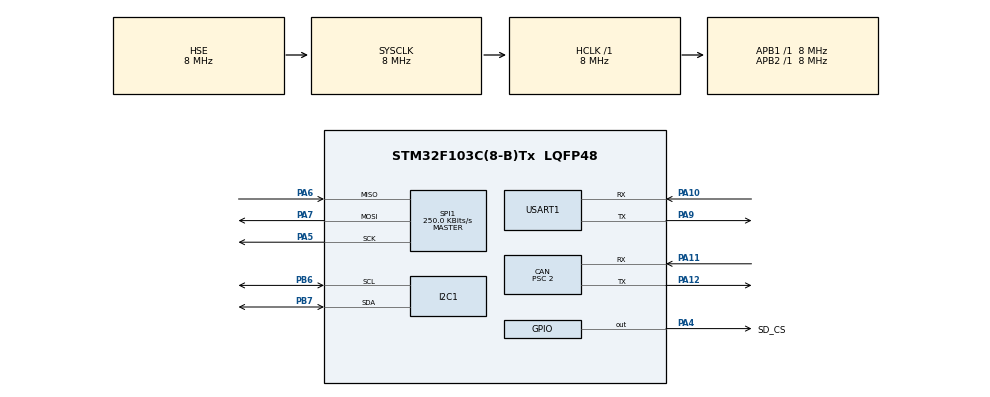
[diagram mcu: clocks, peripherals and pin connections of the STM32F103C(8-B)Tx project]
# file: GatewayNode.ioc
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CAN.BS1=CAN_BS1_13TQ
CAN.BS2=CAN_BS2_2TQ
CAN.CalculateBaudRate=250000
CAN.CalculateTimeBit=4000
CAN.CalculateTimeQuantum=250.0
CAN.Prescaler=2
FREERTOS.BinarySemaphores01=DataReadySem,Dynamic,NULL,Depleted
FREERTOS.Tasks01=defaultTask,-3,128,StartDefaultTask,Default,NULL,Dynamic,NULL,NULL;DisplayTask,0,256,StartDisplayTask,Default,NULL,Dynamic,NULL,NULL;LoggingTask,-1,1024,StartLoggingTask,Default,NULL,Dynamic,NULL,NULL
FREERTOS.configTOTAL_HEAP_SIZE=10240
I2C1.I2C_Mode=I2C_Fast
Mcu.Family=STM32F1
Mcu.Name=STM32F103C(8-B)Tx
Mcu.Package=LQFP48
NVIC.PriorityGroup=NVIC_PRIORITYGROUP_4
NVIC.TIM1_UP_IRQn=true\:6\:0\:true\:false\:true\:false\:false\:true\:true
NVIC.TimeBase=TIM1_UP_IRQn
NVIC.TimeBaseIP=TIM1
NVIC.USB_LP_CAN1_RX0_IRQn=true\:5\:0\:true\:false\:true\:true\:true\:true\:true
PA10.Mode=Asynchronous
PA10.Signal=USART1_RX
PA11.Mode=CAN_Activate
PA11.Signal=CAN_RX
PA12.Mode=CAN_Activate
PA12.Signal=CAN_TX
PA13.Mode=Serial_Wire
PA13.Signal=SYS_JTMS-SWDIO
PA14.Mode=Serial_Wire
PA14.Signal=SYS_JTCK-SWCLK
PA4.GPIO_Label=SD_CS
PA4.GPIO_PuPd=GPIO_NOPULL
PA4.GPIO_Speed=GPIO_SPEED_FREQ_HIGH
PA4.PinState=GPIO_PIN_SET
PA4.Signal=GPIO_Output
PA5.Mode=Full_Duplex_Master
PA5.Signal=SPI1_SCK
PA6.GPIO_PuPd=GPIO_PULLUP
PA6.Mode=Full_Duplex_Master
PA6.Signal=SPI1_MISO
PA7.Mode=Full_Duplex_Master
PA7.Signal=SPI1_MOSI
PA9.Mode=Asynchronous
PA9.Signal=USART1_TX
PB6.Mode=I2C
PB6.Signal=I2C1_SCL
PB7.Mode=I2C
PB7.Signal=I2C1_SDA
PD0-OSC_IN.Mode=HSE-External-Oscillator
PD0-OSC_IN.Signal=RCC_OSC_IN
PD1-OSC_OUT.Mode=HSE-External-Oscillator
PD1-OSC_OUT.Signal=RCC_OSC_OUT
ProjectManager.HeapSize=0x200
ProjectManager.StackSize=0x400
ProjectManager.TargetToolchain=MDK-ARM V5.32
RCC.AHBFreq_Value=8000000
RCC.APB1Freq_Value=8000000
RCC.APB1TimFreq_Value=8000000
RCC.APB2Freq_Value=8000000
RCC.APB2TimFreq_Value=8000000
RCC.EnbaleCSS=true
RCC.HCLKFreq_Value=8000000
RCC.PLLSourceVirtual=RCC_PLLSOURCE_HSE
RCC.SYSCLKFreq_VALUE=8000000
RCC.SYSCLKSource=RCC_SYSCLKSOURCE_HSE
RCC.USBFreq_Value=16000000
SPI1.BaudRatePrescaler=SPI_BAUDRATEPRESCALER_32
SPI1.CalculateBaudRate=250.0 KBits/s
SPI1.Direction=SPI_DIRECTION_2LINES
SPI1.Mode=SPI_MODE_MASTER
SPI1.VirtualType=VM_MASTER
USART1.VirtualMode=VM_ASYNC
VP_FATFS_VS_Generic.Mode=User_defined
VP_FREERTOS_VS_CMSIS_V1.Mode=CMSIS_V1
VP_SYS_VS_tim1.Mode=TIM1
board=custom

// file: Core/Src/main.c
/* USER CODE BEGIN Header */
/**
  ******************************************************************************
  * @file           : main.c
  * @brief          : Main program body
  ******************************************************************************
  * @attention
  *
  * Copyright (c) 2026 STMicroelectronics.
  * All rights reserved.
  *
  * This software is licensed under terms that can be found in the LICENSE file
  * in the root directory of this software component.
  * If no LICENSE file comes with this software, it is provided AS-IS.
  *
  ******************************************************************************
  */
/* USER CODE END Header */
#include "main.h"
#include "cmsis_os.h"
#include "fatfs.h"

/* USER CODE BEGIN Includes */
#include <stdio.h>
#include <string.h>
#include <stdlib.h>
#include "ssd1306.h"
#include "ssd1306_fonts.h"
#include "fatfs_sd.h"
/* USER CODE END Includes */

CAN_HandleTypeDef hcan;

I2C_HandleTypeDef hi2c1;

SPI_HandleTypeDef hspi1;

UART_HandleTypeDef huart1;

osThreadId defaultTaskHandle;
osThreadId DisplayTaskHandle;
osThreadId LoggingTaskHandle;
osSemaphoreId DataReadySemHandle;
/* USER CODE BEGIN PV */
FATFS fs;
FIL fil;
FRESULT fres;
char uart_msg[64];
char log_buf[32];
volatile uint16_t Timer1, Timer2;
/* USER CODE END PV */

void SystemClock_Config(void);
static void MX_GPIO_Init(void);
static void MX_CAN_Init(void);
static void MX_USART1_UART_Init(void);
static void MX_I2C1_Init(void);
static void MX_SPI1_Init(void);
void StartDefaultTask(void const * argument);
void StartDisplayTask(void const * argument);
void StartLoggingTask(void const * argument);

/* USER CODE BEGIN 0 */
CAN_RxHeaderTypeDef RxHeader;
uint8_t RxData[8];
float pm25_recv, temp_recv, hum_recv;
uint8_t data_updated = 0;

/* USER CODE END 0 */

int main(void)
{

  /* MCU Configuration--------------------------------------------------------*/

  /* Reset of all peripherals, Initializes the Flash interface and the Systick. */
  HAL_Init();

  /* Configure the system clock */
  SystemClock_Config();

  /* Initialize all configured peripherals */
  MX_GPIO_Init();
  MX_CAN_Init();
  MX_USART1_UART_Init();
  MX_I2C1_Init();
  MX_SPI1_Init();
  MX_FATFS_Init();
  /* USER CODE BEGIN 2 */
	HAL_GPIO_WritePin(SD_CS_GPIO_Port, SD_CS_Pin, GPIO_PIN_SET);
	ssd1306_Init();

	ssd1306_Fill(Black);
	ssd1306_SetCursor(25, 10);
	ssd1306_WriteString("DEVICE READY", Font_7x10, White);
	ssd1306_SetCursor(35, 30);
	ssd1306_WriteString("GATEWAY", Font_11x18, White);
	ssd1306_UpdateScreen();

	HAL_Delay(1500);
	CAN_FilterTypeDef sFilterConfig;
	sFilterConfig.FilterBank = 0;
	sFilterConfig.FilterMode = CAN_FILTERMODE_IDLIST;
	sFilterConfig.FilterScale = CAN_FILTERSCALE_32BIT;
	sFilterConfig.FilterIdHigh = 0x123 << 5;
	sFilterConfig.FilterIdLow = 0x0000;
	sFilterConfig.FilterMaskIdHigh = 0x123 << 5;
	sFilterConfig.FilterMaskIdLow = 0x0000;
	sFilterConfig.FilterFIFOAssignment = CAN_RX_FIFO0;
	sFilterConfig.FilterActivation = ENABLE;
	sFilterConfig.SlaveStartFilterBank = 14;

	if(HAL_CAN_ConfigFilter(&hcan, &sFilterConfig) != HAL_OK)
	{
			Error_Handler();
	}

	HAL_CAN_Start(&hcan);

	HAL_CAN_ActivateNotification(&hcan, CAN_IT_RX_FIFO0_MSG_PENDING);

  /* USER CODE END 2 */

  /* Create the semaphores(s) */
  /* definition and creation of DataReadySem */
  osSemaphoreDef(DataReadySem);
  DataReadySemHandle = osSemaphoreCreate(osSemaphore(DataReadySem), 1);

  /* Create the thread(s) */
  /* definition and creation of defaultTask */
  osThreadDef(defaultTask, StartDefaultTask, osPriorityIdle, 0, 128);
  defaultTaskHandle = osThreadCreate(osThread(defaultTask), NULL);

  /* definition and creation of DisplayTask */
  osThreadDef(DisplayTask, StartDisplayTask, osPriorityNormal, 0, 256);
  DisplayTaskHandle = osThreadCreate(osThread(DisplayTask), NULL);

  /* definition and creation of LoggingTask */
  osThreadDef(LoggingTask, StartLoggingTask, osPriorityBelowNormal, 0, 1024);
  LoggingTaskHandle = osThreadCreate(osThread(LoggingTask), NULL);

  /* Start scheduler */
  osKernelStart();

  /* We should never get here as control is now taken by the scheduler */

  /* Infinite loop */
  while (1)
  {

  }
}

void SystemClock_Config(void)
{
  RCC_OscInitTypeDef RCC_OscInitStruct = {0};
  RCC_ClkInitTypeDef RCC_ClkInitStruct = {0};

  /** Initializes the RCC Oscillators according to the specified parameters
  * in the RCC_OscInitTypeDef structure.
  */
  RCC_OscInitStruct.OscillatorType = RCC_OSCILLATORTYPE_HSE;
  RCC_OscInitStruct.HSEState = RCC_HSE_ON;
  RCC_OscInitStruct.PLL.PLLState = RCC_PLL_NONE;
  if (HAL_RCC_OscConfig(&RCC_OscInitStruct) != HAL_OK)
  {
    Error_Handler();
  }

  /** Initializes the CPU, AHB and APB buses clocks
  */
  RCC_ClkInitStruct.ClockType = RCC_CLOCKTYPE_HCLK|RCC_CLOCKTYPE_SYSCLK
                              |RCC_CLOCKTYPE_PCLK1|RCC_CLOCKTYPE_PCLK2;
  RCC_ClkInitStruct.SYSCLKSource = RCC_SYSCLKSOURCE_HSE;
  RCC_ClkInitStruct.AHBCLKDivider = RCC_SYSCLK_DIV1;
  RCC_ClkInitStruct.APB1CLKDivider = RCC_HCLK_DIV1;
  RCC_ClkInitStruct.APB2CLKDivider = RCC_HCLK_DIV1;

  if (HAL_RCC_ClockConfig(&RCC_ClkInitStruct, FLASH_LATENCY_0) != HAL_OK)
  {
    Error_Handler();
  }

  /** Enables the Clock Security System
  */
  HAL_RCC_EnableCSS();
}

static void MX_CAN_Init(void)
{

  hcan.Instance = CAN1;
  hcan.Init.Prescaler = 2;
  hcan.Init.Mode = CAN_MODE_NORMAL;
  hcan.Init.SyncJumpWidth = CAN_SJW_1TQ;
  hcan.Init.TimeSeg1 = CAN_BS1_13TQ;
  hcan.Init.TimeSeg2 = CAN_BS2_2TQ;
  hcan.Init.TimeTriggeredMode = DISABLE;
  hcan.Init.AutoBusOff = DISABLE;
  hcan.Init.AutoWakeUp = DISABLE;
  hcan.Init.AutoRetransmission = DISABLE;
  hcan.Init.ReceiveFifoLocked = DISABLE;
  hcan.Init.TransmitFifoPriority = DISABLE;
  if (HAL_CAN_Init(&hcan) != HAL_OK)
  {
    Error_Handler();
  }

}

static void MX_I2C1_Init(void)
{

  hi2c1.Instance = I2C1;
  hi2c1.Init.ClockSpeed = 400000;
  hi2c1.Init.DutyCycle = I2C_DUTYCYCLE_2;
  hi2c1.Init.OwnAddress1 = 0;
  hi2c1.Init.AddressingMode = I2C_ADDRESSINGMODE_7BIT;
  hi2c1.Init.DualAddressMode = I2C_DUALADDRESS_DISABLE;
  hi2c1.Init.OwnAddress2 = 0;
  hi2c1.Init.GeneralCallMode = I2C_GENERALCALL_DISABLE;
  hi2c1.Init.NoStretchMode = I2C_NOSTRETCH_DISABLE;
  if (HAL_I2C_Init(&hi2c1) != HAL_OK)
  {
    Error_Handler();
  }

}

static void MX_SPI1_Init(void)
{

  /* SPI1 parameter configuration*/
  hspi1.Instance = SPI1;
  hspi1.Init.Mode = SPI_MODE_MASTER;
  hspi1.Init.Direction = SPI_DIRECTION_2LINES;
  hspi1.Init.DataSize = SPI_DATASIZE_8BIT;
  hspi1.Init.CLKPolarity = SPI_POLARITY_LOW;
  hspi1.Init.CLKPhase = SPI_PHASE_1EDGE;
  hspi1.Init.NSS = SPI_NSS_SOFT;
  hspi1.Init.BaudRatePrescaler = SPI_BAUDRATEPRESCALER_32;
  hspi1.Init.FirstBit = SPI_FIRSTBIT_MSB;
  hspi1.Init.TIMode = SPI_TIMODE_DISABLE;
  hspi1.Init.CRCCalculation = SPI_CRCCALCULATION_DISABLE;
  hspi1.Init.CRCPolynomial = 10;
  if (HAL_SPI_Init(&hspi1) != HAL_OK)
  {
    Error_Handler();
  }

}

static void MX_USART1_UART_Init(void)
{

  huart1.Instance = USART1;
  huart1.Init.BaudRate = 115200;
  huart1.Init.WordLength = UART_WORDLENGTH_8B;
  huart1.Init.StopBits = UART_STOPBITS_1;
  huart1.Init.Parity = UART_PARITY_NONE;
  huart1.Init.Mode = UART_MODE_TX_RX;
  huart1.Init.HwFlowCtl = UART_HWCONTROL_NONE;
  huart1.Init.OverSampling = UART_OVERSAMPLING_16;
  if (HAL_UART_Init(&huart1) != HAL_OK)
  {
    Error_Handler();
  }

}

static void MX_GPIO_Init(void)
{
  GPIO_InitTypeDef GPIO_InitStruct = {0};

  /* GPIO Ports Clock Enable */
  __HAL_RCC_GPIOD_CLK_ENABLE();
  __HAL_RCC_GPIOA_CLK_ENABLE();
  __HAL_RCC_GPIOB_CLK_ENABLE();

  /*Configure GPIO pin Output Level */
  HAL_GPIO_WritePin(SD_CS_GPIO_Port, SD_CS_Pin, GPIO_PIN_SET);

  /*Configure GPIO pin : SD_CS_Pin */
  GPIO_InitStruct.Pin = SD_CS_Pin;
  GPIO_InitStruct.Mode = GPIO_MODE_OUTPUT_PP;
  GPIO_InitStruct.Pull = GPIO_NOPULL;
  GPIO_InitStruct.Speed = GPIO_SPEED_FREQ_HIGH;
  HAL_GPIO_Init(SD_CS_GPIO_Port, &GPIO_InitStruct);

}

/* USER CODE BEGIN 4 */
void HAL_CAN_RxFifo0MsgPendingCallback(CAN_HandleTypeDef *hcan)
{
		if(HAL_CAN_GetRxMessage(hcan, CAN_RX_FIFO0, &RxHeader, RxData) == HAL_OK)
		{
				if(RxHeader.StdId == 0x123 && RxHeader.DLC == 8)
				{
						int16_t p_raw = (int16_t)((RxData[0] << 8) | RxData[1]);
						pm25_recv = p_raw / 10.0f;

						int16_t t_raw = (int16_t)((RxData[2] << 8) | RxData[3]);
						temp_recv = t_raw / 100.0f;

						int16_t h_raw = (int16_t)((RxData[4] << 8) | RxData[5]);
						hum_recv = h_raw / 100.0f;

						if(DataReadySemHandle != NULL)
						{
								osSemaphoreRelease(DataReadySemHandle);
						}
				}
		}
}
/* USER CODE END 4 */

void StartDefaultTask(void const * argument)
{
  for(;;)
  {
    osDelay(1);
  }
}

void StartDisplayTask(void const * argument)
{
  /* USER CODE BEGIN StartDisplayTask */
  /* Infinite loop */
	char buf[64];
  for(;;)
  {
			if(osSemaphoreWait(DataReadySemHandle, osWaitForever) == osOK)
			{
					sprintf(buf, "PM2.5: %.1f | T: %.2f | H: %.2f\r\n", pm25_recv, temp_recv, hum_recv);
					HAL_UART_Transmit(&huart1, (uint8_t*)buf, strlen(buf), 100);

					ssd1306_Fill(Black);

					sprintf(buf, "PM2.5: %.1f", pm25_recv);
					ssd1306_SetCursor(0, 0);
					ssd1306_WriteString(buf, Font_7x10, White);

					sprintf(buf, "Temp : %.2f C", temp_recv);
					ssd1306_SetCursor(0, 22);
					ssd1306_WriteString(buf, Font_7x10, White);

					sprintf(buf, "Hum  : %.2f %%", hum_recv);
					ssd1306_SetCursor(0, 44);
					ssd1306_WriteString(buf, Font_7x10, White);

					ssd1306_UpdateScreen();

					data_updated = 1;
			}
  }
  /* USER CODE END StartDisplayTask */
}

void StartLoggingTask(void const * argument)
{
  /* USER CODE BEGIN StartLoggingTask */
	osDelay(2000);
	HAL_UART_Transmit(&huart1, (uint8_t*)"Chuan bi Mount...\r\n", 19, 100);
	fres = f_mount(&fs, "", 1);

  sprintf(log_buf, "Mount xong, Code: %d\r\n", fres);
  HAL_UART_Transmit(&huart1, (uint8_t*)log_buf, strlen(log_buf), 100);
  /* Infinite loop */
  for(;;)
  {
			if(data_updated == 1)
    {
      fres = f_open(&fil, "DATA.CSV", FA_OPEN_ALWAYS | FA_WRITE);

      if(fres == FR_OK)
      {
        f_lseek(&fil, f_size(&fil));
        int p_int = (int)pm25_recv;
        int p_dec = abs((int)((pm25_recv - p_int) * 10));

        int t_int = (int)temp_recv;
        int t_dec = abs((int)((temp_recv - t_int) * 100));

        int h_int = (int)hum_recv;
        int h_dec = abs((int)((hum_recv - h_int) * 100));

        f_printf(&fil, "%d.%d,%d.%02d,%d.%02d\n",
                 p_int, p_dec,
                 t_int, t_dec,
                 h_int, h_dec);
        f_close(&fil);
        HAL_UART_Transmit(&huart1, (uint8_t*)"SD: Ghi file OK!\r\n", 18, 100);
      }
      else
      {
        sprintf(uart_msg, "SD: Loi f_open! Code: %d\r\n", fres);
        HAL_UART_Transmit(&huart1, (uint8_t*)uart_msg, strlen(uart_msg), 100);
      }

      data_updated = 0;
    }
    osDelay(100);
  }
  /* USER CODE END StartLoggingTask */
}

void HAL_TIM_PeriodElapsedCallback(TIM_HandleTypeDef *htim)
{
  if (htim->Instance == TIM1)
  {
    HAL_IncTick();
  }
}

void Error_Handler(void)
{
  __disable_irq();
  while (1)
  {
  }
}
